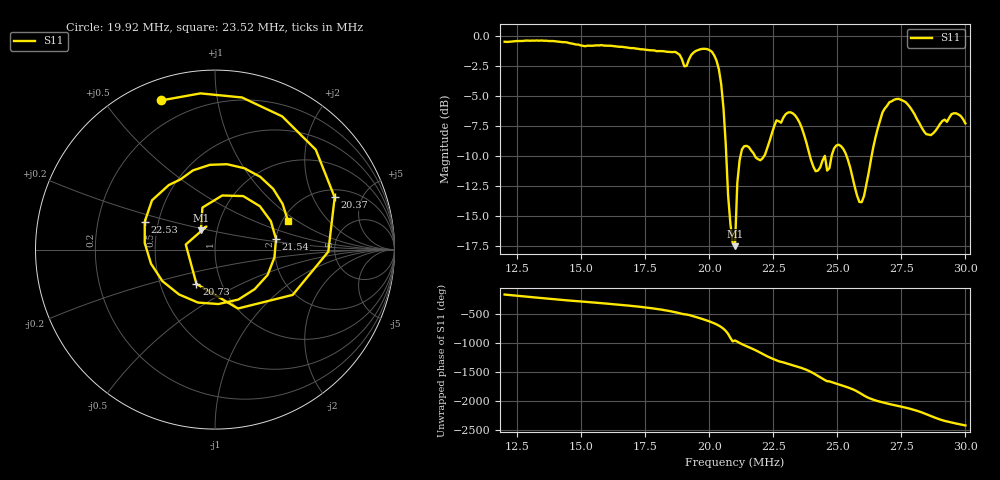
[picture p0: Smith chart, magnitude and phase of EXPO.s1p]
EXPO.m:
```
clear all, close all, clc;

% Load S-parameters from s1p file
S = sparameters('EXPO.s1p');
freq = S.Frequencies;  % Frequency in Hz
S11 = squeeze(S.Parameters(1,1,:));
    
% Convert to dB (use 20log for voltages)
S11_dB = 20*log10(abs(S11));

figure;
tiledlayout(1,2);
    
% S11
nexttile;
semilogx(freq .* 10^-6, S11_dB, 'b','LineWidth',1.5);
xlabel('Frequency (MHz)');
ylabel('|S11| (dB)');
title('S11');
xlim([20 30]);
hold on;
grid on;

% Surrogate frequencies
xline(21.450, 'label', '21.450');
xline(24.890, 'label', '24.890');

% Actual frequencies
xline(20.510, 'r', 'label', '20.510');
xline(21.460, 'r', 'label', '21.460');
xline(23.180, 'r', 'label', '23.180');
xline(24.450, 'r', 'label', '24.450');
xline(26.875, 'r', 'label', '26.875');

VSWR = (1 + abs(S11)) ./ (1 - abs(S11));

% VSWR
nexttile;
semilogx(freq .* 10^-6, VSWR, 'r','LineWidth',1.5);
xlabel('Frequency (MHz)');
ylabel('VSWR');
title('VSWR');
hold on;
grid on;
xlim([20 30]);
ylim([1 10]);

% Surrogate frequencies
xline(21.025, 'label', '21.025');
xline(21.200, 'label', '21.200');
xline(21.275, 'label', '21.275');
xline(21.450, 'label', '21.450');
xline(24.890, 'label', '24.890');
xline(24.990, 'label', '24.990');
xline(28.000, 'label', '28.000');
xline(29.700, 'label', '29.700');

% General License Operating Regions
%xregion(14.025, 14.150, [0.8 0.8 0.8]); % 20m
%xregion(14.225, 14.350, [0.8 0.8 0.8]); % 20m
%xregion(18.068, 18.168, [0.8 0.8 0.8]); % 17m
%xregion(21.025, 21.200, [0.8 0.8 0.8]); % 15m
%xregion(21.275, 21.450, [0.8 0.8 0.8]); % 15m
%xregion(24.890, 24.990, [0.8 0.8 0.8]); % 12m
%xregion(28.000, 29.700, [0.8 0.8 0.8]); % 10m

Y_points = [1, 10, 10, 1];

fill([21.025, 21.025, 21.200, 21.200], Y_points, [0.8 0.8 0.8], 'FaceAlpha', 0.75, 'EdgeColor', 'none'); 
fill([21.275, 21.275, 21.450, 21.450], Y_points, [0.8 0.8 0.8], 'FaceAlpha', 0.75, 'EdgeColor', 'none'); 
fill([24.890, 24.890, 24.990, 24.990], Y_points, [0.8 0.8 0.8], 'FaceAlpha', 0.75, 'EdgeColor', 'none'); 
fill([28.000, 28.000, 29.700, 29.700], Y_points, [0.8 0.8 0.8], 'FaceAlpha', 0.75, 'EdgeColor', 'none'); 

% Actual frequencies
xline(20.510, 'r', 'label', '20.510');
xline(21.460, 'r', 'label', '21.460');
xline(23.180, 'r', 'label', '23.180');
xline(24.450, 'r', 'label', '24.450');
xline(26.875, 'r', 'label', '26.875');

% Create Smith chart
%figure('Name','Smith Chart from .s1p file','NumberTitle','off');
%smithplot(S11);
```
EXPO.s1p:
!Keysight Technologies N9916A: A.13.10
!Date: Thursday, 20 November 2025 13:15:58
!TimeZone: (UTC-06:00) Central Time (US & Canada)!Model: N9916A
!Serial: MY57273160
!GPS Latitude:
!GPS Longitude:
!GPS TimeStamp: 0001-01-01 00:00:00Z
!GPS Seconds Since Last Read: 0
!CHECKSUM:1961630093
!Correction: S11(ON U)
!S1P File: Measurement: S11:
# Hz S DB R 50
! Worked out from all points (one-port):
!   201 points, 12 MHz to 30 MHz, reference 50 ohm
!   lowest |S11| = -17.5 dB at 21 MHz (marker M1), VSWR 1.31, Z = 41.8 + j9.16 ohm
!   |S11| at or under -10 dB: 20.66 MHz to 21.21 MHz (554 kHz wide, 2.65 % of centre); 23.93 MHz to 24.5 MHz (575.6 kHz wide, 2.38 % of centre); 25.36 MHz to 26.34 MHz (977.1 kHz wide, 3.78 % of centre)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
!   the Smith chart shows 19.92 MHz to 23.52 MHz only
!   S11 on the Smith chart (normalised r, x): 19.92 MHz: 0.09, +0.70; 20.37 MHz: 2.40, +2.97; 20.73 MHz: 0.76, -0.30; 21.54 MHz: 2.01, +0.27; 22.53 MHz: 0.42, +0.16; 23.52 MHz: 2.14, +0.84
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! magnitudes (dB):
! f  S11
! 12 MHz  -0.5
! 18.03 MHz  -1.2
! 19.92 MHz  -1.1
! 20.37 MHz  -2.8
! 20.73 MHz  -13.3
! 21 MHz  -17.5
! 21.18 MHz  -10.3
! 21.54 MHz  -9.2
! 22.53 MHz  -7.5
! 23.52 MHz  -7.2
! 24.06 MHz  -10.9
! 25.95 MHz  -13.8
! 27.03 MHz  -5.5
! 30 MHz  -7.3
